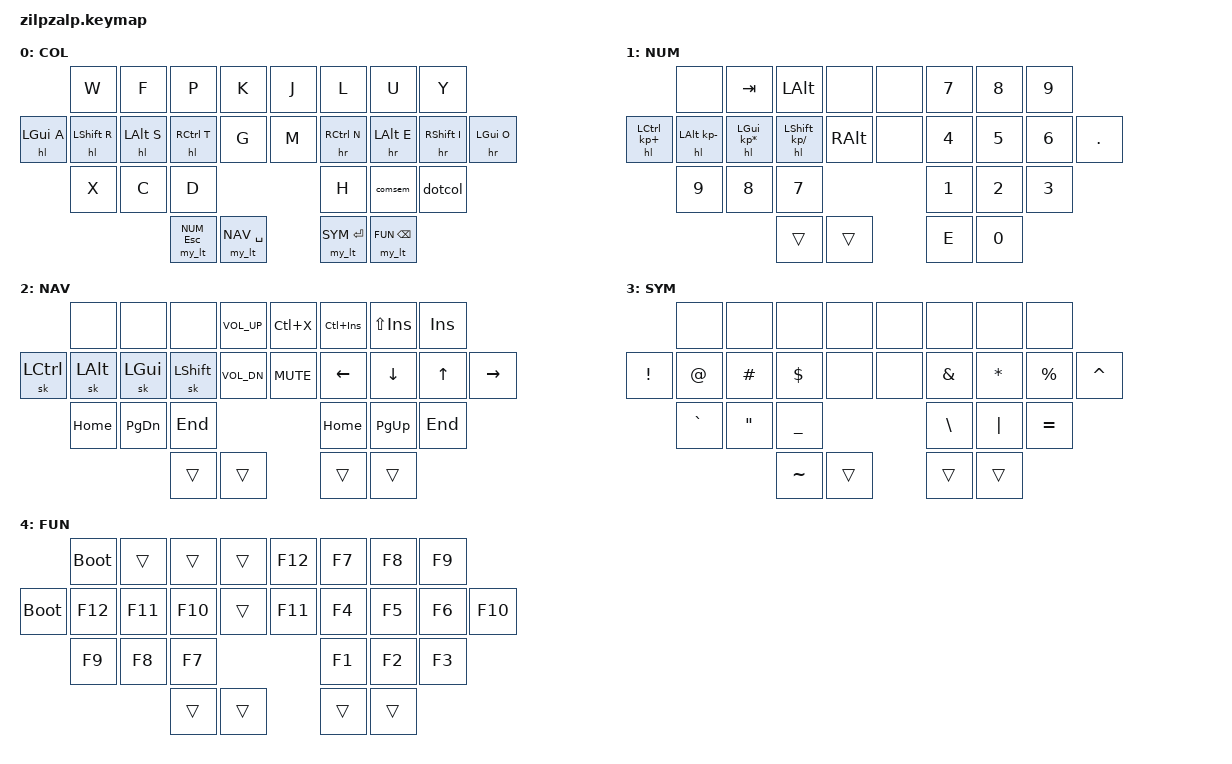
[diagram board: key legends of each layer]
#include <behaviors.dtsi>
#include <dt-bindings/zmk/keys.h>

// zilpzalp key numbers
//     __________________________  __________________________
//    /     0  |  1  |  2  |  3  \/   4 |   5 |   6 |   7    \
// |  8  |  9  | 10  | 11  | 12  /\  13 |  14 |  15 |  16 | 17  |
//    \    18  | 19  | 20    /        \    21 |  22 |  23   /
//          \    24  | 25  /            \  26 |  27    /
//           --------------              --------------

/ {
    combos {
        compatible = "zmk,combos";
        combo_q {
            timeout-ms = <20>;
            bindings = <&kp Q>;
            key-positions = <0 1>;
            layers = <0>;
        };
        combo_b {
            timeout-ms = <20>;
            bindings = <&kp B>;
            key-positions = <1 2>;
            layers = <0>;
        };
        combo_z {
            timeout-ms = <20>;
            bindings = <&kp Z>;
            key-positions = <18 19>;
            layers = <0>;
        };
        combo_v {
            timeout-ms = <20>;
            bindings = <&kp V>;
            key-positions = <19 20>;
            layers = <0>;
        };
        combo_apo {
            timeout-ms = <20>;
            bindings = <&kp SQT>;
            key-positions = <5 6>;
            layers = <0>;
        };
        combo_semi {
            timeout-ms = <20>;
            bindings = <&kp SEMI>;
            key-positions = <6 7>;
            layers = <0>;
        };
        combo_dash {
            timeout-ms = <20>;
            bindings = <&kp MINUS>;
            key-positions = <21 22>;
            layers = <0>;
        };
        combo_slash {
            timeout-ms = <20>;
            bindings = <&kp SLASH>;
            key-positions = <22 23>;
            layers = <0>;
        };
        combo_bslash {
            timeout-ms = <20>;
            bindings = <&kp BSLH>;
            key-positions = <23 17>;
            layers = <0>;
        };
    };

    keymap {
        compatible = "zmk,keymap";

        colemak {
            label = "COL";

            bindings = <
                            &kp W           &kp F       &kp P           &kp K                   &kp J   &kp L          &kp U          &kp Y
                &hl LGUI A  &hl LSHIFT R    &hl LALT S  &hl RCTRL T     &kp G                   &kp M   &hr RCTRL N    &hr LALT E     &hr RSHIFT I     &hr LGUI O
                            &kp X           &kp C       &kp D                                           &kp H          &comsem        &dotcol
                                                        &my_lt NUM ESC &my_lt NAV SPACE         &my_lt SYM ENTER &my_lt FUN BSPC
            >;
        };
        numbers {
            label = "NUM";

            bindings = <
                                  &none             &kp TAB                &kp LALT                  &none          &none          &kp N7         &kp N8         &kp N9
                &hl LCTRL KP_PLUS &hl LALT KP_MINUS &hl LGUI KP_ASTERISK &hl LSHFT KP_SLASH     &kp RALT       &none          &kp N4         &kp N5         &kp N6         &kp DOT
                                  &kp N9            &kp N8               &kp N7                                           &kp N1         &kp N2         &kp N3
                                                             &trans         &trans         &kp E          &kp N0
            >;
        };
        navigation {
            label = "NAV";

            bindings = <
                               &none          &none          &none           &kp C_VOL_UP   &kp LC(X)      &kp LC(INSERT) &kp LS(INSERT) &kp INSERT
                &sk LCTRL      &sk LALT       &sk LGUI       &sk LSHFT       &kp C_VOL_DN   &kp C_MUTE     &kp LEFT       &kp DOWN       &kp UP         &kp RIGHT
                               &kp HOME       &kp PG_DN      &kp END                                       &kp HOME       &kp PG_UP      &kp END
                                                             &trans          &trans         &trans         &trans
            >;
        };
        symbols {
            label = "SYM";

            bindings = <
                               &none          &none          &none            &none          &none          &none          &none          &none
                &kp EXCL       &kp AT         &kp HASH       &kp DOLLAR       &none          &none          &kp AMPERSAND  &kp ASTERISK   &kp PERCENT    &kp CARET
                               &kp GRAVE      &kp DQT        &kp UNDERSCORE                                 &kp BACKSLASH  &kp PIPE       &kp EQUAL
                                                             &kp TILDE        &trans         &trans         &trans
            >;
        };
        function {
            label = "FUN";

            bindings = <
                               &bootloader    &trans         &trans         &trans         &kp F12        &kp F7         &kp F8         &kp F9
                &bootloader    &kp F12        &kp F11        &kp F10        &trans         &kp F11        &kp F4         &kp F5         &kp F6         &kp F10
                               &kp F9         &kp F8         &kp F7                                       &kp F1         &kp F2         &kp F3
                                                             &trans         &trans         &trans         &trans
            >;
        };

    };
};

//     __________________________  __________________________
//    /     1  |  2  |  3  |  4  \/   5 |   6 |   7 |   8    \
// | 10  | 11  | 12  | 13  | 14  ||  15 |  16 |  17 |  18 | 19  |
//    \    20  | 21  | 22  |     ||     |  23 |  24 |  25   /
//                \    26  | 27  /\  28 |  29    /
//                 --------------  --------------
